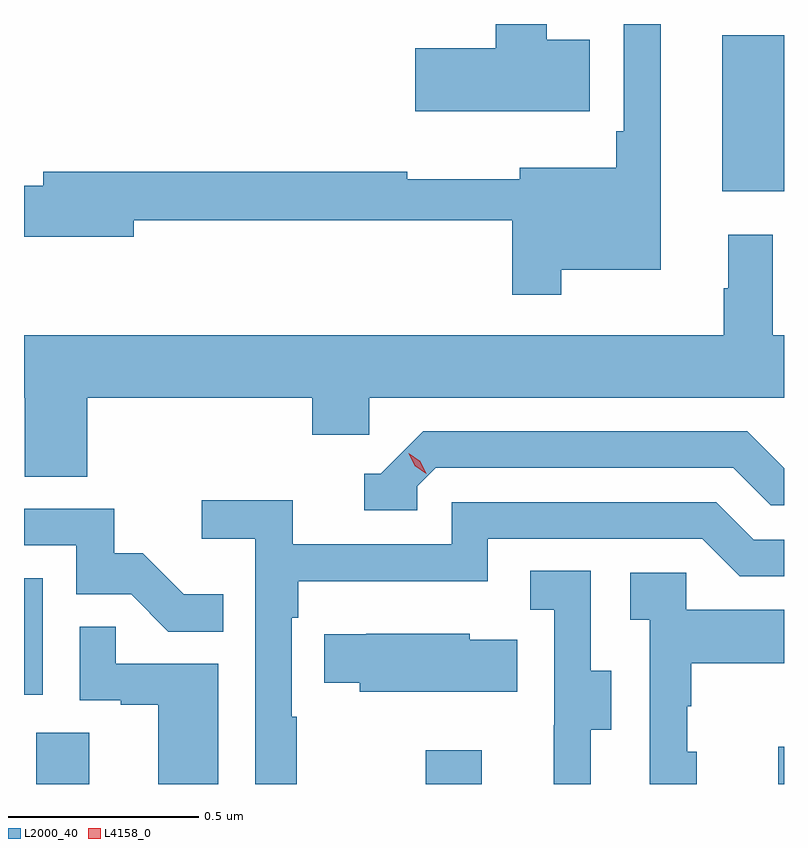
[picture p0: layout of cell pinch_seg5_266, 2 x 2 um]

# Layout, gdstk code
import gdstk
lib = gdstk.Library(unit=1e-6, precision=1e-09)
def R(c, l, rs):  # rectangles x0, y0, x1, y1
    for r in rs: c.add(gdstk.rectangle(r[:2], r[2:], *l))
def P(c, l, *ps):  # polygons
    for p in ps: c.add(gdstk.Polygon(p, *l))
L2000_40 = (2000, 40)
L4158_0 = (4158, 0)

pinch_seg5_266 = lib.new_cell('pinch_seg5_266')
R(pinch_seg5_266, L2000_40, [(897.179,897.035,897.319,897.17), (898.204,897.035,898.351,897.124), (899.132,897.035,899.147,897.133), (897.147,897.27,897.196,897.577), (898.985,898.595,899.147,899.005)])
P(pinch_seg5_266, L2000_40, [(898.636,898.993),(898.522,898.993),(898.522,899.035),(898.388,899.035),(898.388,898.971),(898.176,898.971),(898.176,898.805),(898.636,898.805)],
  [(898.561,898.388),(898.822,898.388),(898.822,899.035),(898.725,899.035),(898.725,898.753),(898.705,898.753),(898.705,898.657),(898.451,898.657),(898.451,898.627),(898.155,898.627),(898.155,898.646),(897.197,898.646),(897.197,898.61),(897.147,898.61),(897.147,898.475),(897.436,898.475),(897.436,898.518),(898.432,898.518),(898.432,898.323),(898.561,898.323)],
  [(897.314,898.052),(897.905,898.052),(897.905,897.954),(898.056,897.954),(898.056,898.052),(899.147,898.052),(899.147,898.216),(899.117,898.216),(899.117,898.48),(899,898.48),(899,898.34),(898.989,898.34),(898.989,898.216),(897.147,898.216),(897.147,898.052),(897.149,898.052),(897.149,897.844),(897.314,897.844)],
  [(898.182,897.819),(898.23,897.867),(899.013,897.867),(899.112,897.768),(899.147,897.768),(899.147,897.866),(899.05,897.963),(898.197,897.963),(898.086,897.852),(898.043,897.852),(898.043,897.756),(898.182,897.756)],
  [(897.865,897.212),(897.852,897.212),(897.852,897.473),(897.869,897.473),(897.869,897.569),(898.368,897.569),(898.368,897.681),(898.932,897.681),(899.031,897.582),(899.147,897.582),(899.147,897.678),(899.068,897.678),(898.969,897.777),(898.272,897.777),(898.272,897.666),(897.854,897.666),(897.854,897.782),(897.615,897.782),(897.615,897.68),(897.756,897.68),(897.756,897.035),(897.865,897.035)],
  [(897.671,897.535),(897.567,897.535),(897.46,897.642),(897.384,897.642),(897.384,897.759),(897.147,897.759),(897.147,897.663),(897.285,897.663),(897.285,897.534),(897.429,897.534),(897.527,897.436),(897.671,897.436)],
  [(898.639,897.178),(898.693,897.178),(898.693,897.333),(898.638,897.333),(898.638,897.596),(898.479,897.596),(898.479,897.493),(898.542,897.493),(898.542,897.189),(898.541,897.189),(898.541,897.035),(898.639,897.035)],
  [(898.918,897.12),(898.893,897.12),(898.893,897.239),(898.903,897.239),(898.903,897.353),(899.147,897.353),(899.147,897.493),(898.89,897.493),(898.89,897.591),(898.743,897.591),(898.743,897.467),(898.794,897.467),(898.794,897.035),(898.918,897.035)],
  [(897.658,897.351),(897.389,897.351),(897.389,897.449),(897.294,897.449),(897.294,897.255),(897.401,897.255),(897.401,897.243),(897.5,897.243),(897.5,897.035),(897.658,897.035)],
  [(898.445,897.415),(898.32,897.415),(898.32,897.43),(898.048,897.43),(898.048,897.429),(897.937,897.429),(897.937,897.301),(898.031,897.301),(898.031,897.278),(898.445,897.278)])
P(pinch_seg5_266, L4158_0, [(898.205,897.852),(898.175,897.872),(898.159,897.905),(898.159,897.905),(898.159,897.905),(898.19,897.885),(898.205,897.852),(898.205,897.852)])

lib.write_gds('pinch_seg5_266.gds')
